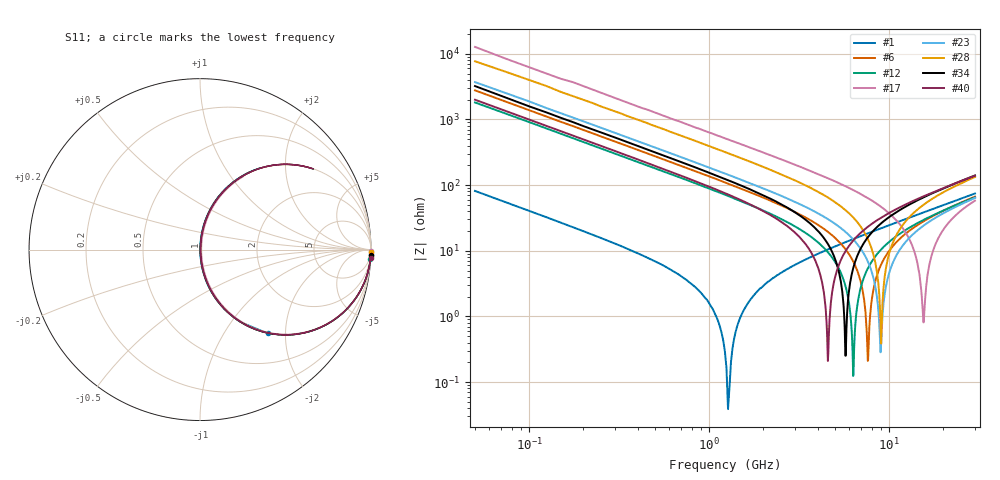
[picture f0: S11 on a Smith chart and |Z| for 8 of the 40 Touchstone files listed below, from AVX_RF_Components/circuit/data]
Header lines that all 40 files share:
# MHZ S MA R 50
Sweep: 50 MHz to 30 GHz
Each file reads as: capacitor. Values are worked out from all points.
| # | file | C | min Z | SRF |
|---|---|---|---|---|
| 1 | C0402SE390.s2p | 39 pF | 38.8 mohm | 1.281 GHz |
| 2 | C0402SE470.s2p | 47 pF | 42.4 mohm | 1.165 GHz |
| 3 | C0402SE560.s2p | 56 pF | 32.8 mohm | 1.054 GHz |
| 4 | C0402SE680.s2p | 68 pF | 24.6 mohm | 845.6 MHz |
| 5 | C0402SEA05.s2p | 1.05 pF | 211 mohm | 7.989 GHz |
| 6 | C0402SEA15.s2p | 1.15 pF | 210 mohm | 7.623 GHz |
| 7 | C0402SEA25.s2p | 1.25 pF | 202 mohm | 7.222 GHz |
| 8 | C0402SEA35.s2p | 1.35 pF | 197 mohm | 6.927 GHz |
| 9 | C0402SEA45.s2p | 1.45 pF | 191 mohm | 6.676 GHz |
| 10 | C0402SEA55.s2p | 1.55 pF | 177 mohm | 6.465 GHz |
| 11 | C0402SEA65.s2p | 1.65 pF | 129 mohm | 6.298 GHz |
| 12 | C0402SEA75.s2p | 1.75 pF | 124 mohm | 6.323 GHz |
| 13 | C0402SEA85.s2p | 1.85 pF | 113 mohm | 6.142 GHz |
| 14 | C0402SEA95.s2p | 1.95 pF | 117 mohm | 5.925 GHz |
| 15 | C0402SEr05.s2p | 50 fF | 1.22 ohm | 20.91 GHz |
| 16 | C0402SEr15.s2p | 151 fF | 1.01 ohm | 17.93 GHz |
| 17 | C0402SEr25.s2p | 250 fF | 809 mohm | 15.53 GHz |
| 18 | C0402SEr35.s2p | 350 fF | 606 mohm | 14.05 GHz |
| 19 | C0402SEr45.s2p | 448 fF | 482 mohm | 11.86 GHz |
| 20 | C0402SEr55.s2p | 550 fF | 385 mohm | 10.89 GHz |
| 21 | C0402SEr65.s2p | 648 fF | 312 mohm | 10.03 GHz |
| 22 | C0402SEr75.s2p | 750 fF | 296 mohm | 9.336 GHz |
| 23 | C0402SEr85.s2p | 849 fF | 284 mohm | 8.966 GHz |
| 24 | C0402SEr95.s2p | 950 fF | 221 mohm | 8.432 GHz |
| 25 | C0603SE0r1.s2p | 101 fF | 616 mohm | 18.1 GHz |
| 26 | C0603SE0r2.s2p | 200 fF | 502 mohm | 12.82 GHz |
| 27 | C0603SE0r3.s2p | 300 fF | 410 mohm | 10.42 GHz |
| 28 | C0603SE0r4.s2p | 400 fF | 386 mohm | 9.028 GHz |
| 29 | C0603SE0r5.s2p | 500 fF | 316 mohm | 8.09 GHz |
| 30 | C0603SE0r6.s2p | 599 fF | 317 mohm | 7.473 GHz |
| 31 | C0603SE0r7.s2p | 699 fF | 317 mohm | 6.777 GHz |
| 32 | C0603SE0r8.s2p | 800 fF | 301 mohm | 6.429 GHz |
| 33 | C0603SE0r9.s2p | 899 fF | 280 mohm | 6.038 GHz |
| 34 | C0603SE1r0.s2p | 999 fF | 252 mohm | 5.728 GHz |
| 35 | C0603SE1r1.s2p | 1.1 pF | 221 mohm | 5.395 GHz |
| 36 | C0603SE1r2.s2p | 1.2 pF | 248 mohm | 5.179 GHz |
| 37 | C0603SE1r3.s2p | 1.3 pF | 216 mohm | 5.038 GHz |
| 38 | C0603SE1r4.s2p | 1.4 pF | 211 mohm | 4.795 GHz |
| 39 | C0603SE1r5.s2p | 1.5 pF | 212 mohm | 4.712 GHz |
| 40 | C0603SE1r6.s2p | 1.6 pF | 210 mohm | 4.573 GHz |
